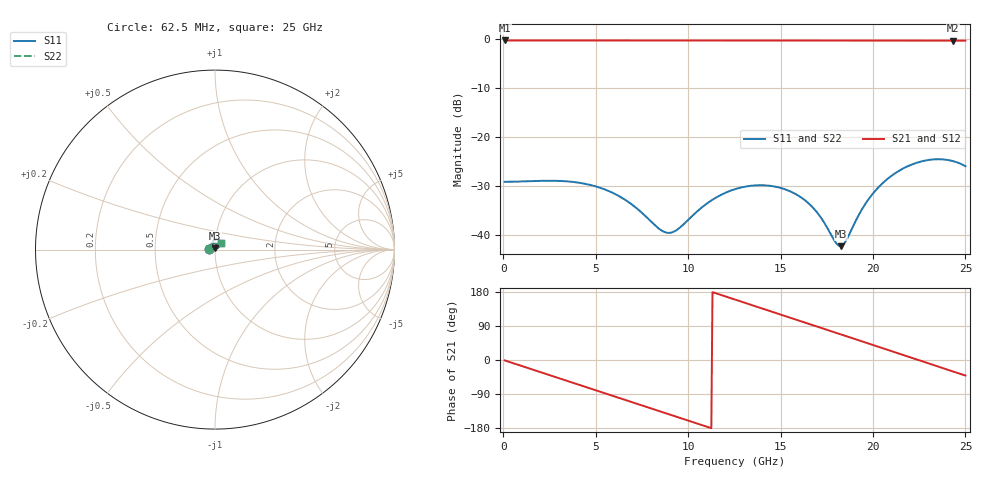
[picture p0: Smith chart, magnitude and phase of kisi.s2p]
! thru_BV_vna_rf_hblb1_q070f25s_out: 2×thru In2.Cu, 6 mm
! stackup: as the board case
! ports: 1 near, 2 far
! kisi-fdtd, conformal, dfine 0.07 mm, 225504 cells
# Hz S RI R 50
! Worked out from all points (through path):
!   400 points, 62.5 MHz to 25 GHz, reference 50 ohm
!   highest |S21| = -0.29 dB at 62.5 MHz (marker M1); lowest = -0.3 dB at 24.31 GHz (marker M2)
!   group delay of S21, straight-line fit = 44.5 ps
!   lowest |S11| = -42.2 dB at 18.25 GHz (marker M3), VSWR 1.02, Z = 50.2 + j0.758 ohm
!   |S11| at or under -10 dB: start of sweep to end of sweep
!   |S22| runs from -42.2 to -24.5 dB; largest |S21 - S12| = 0
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6.25e7  -0.0351 0.00118  0.9673 -0.0169  0.9673 -0.0169  -0.0351 0.00118
2e9  -0.0186 0.0307  0.82 -0.5125  0.82 -0.5125  -0.0186 0.0307
3.1875e9  -0.00117 0.0357  0.6084 -0.751  0.6084 -0.751  -0.00117 0.0357
4.25e9  0.0119 0.0318  0.3625 -0.8957  0.3625 -0.8957  0.0119 0.0318
5.25e9  0.0188 0.0239  0.1019 -0.9607  0.1019 -0.9607  0.0188 0.0239
6.25e9  0.0198 0.0155  -0.1665 -0.9515  -0.1665 -0.9515  0.0198 0.0155
7.3125e9  0.0157 0.00915  -0.4373 -0.8613  -0.4373 -0.8613  0.0157 0.00915
8.375e9  0.00906 0.00766  -0.6698 -0.6958  -0.6698 -0.6958  0.00906 0.00766
9.1875e9  0.00437 0.0099  -0.8091 -0.5272  -0.8091 -0.5272  0.00437 0.0099
1.05e10  0.000835 0.0176  -0.9442 -0.2021  -0.9442 -0.2021  0.000835 0.0176
1.15e10  0.00266 0.0241  -0.9632 0.0661  -0.9632 0.0661  0.00266 0.0241
1.25625e10  0.00818 0.0285  -0.9015 0.3451  -0.9015 0.3451  0.00818 0.0285
1.475e10  0.0205 0.0236  -0.5395 0.8003  -0.5395 0.8003  0.0205 0.0236
1.58125e10  0.0209 0.0161  -0.2811 0.9233  -0.2811 0.9233  0.0209 0.0161
1.66875e10  0.0168 0.0103  -0.0485 0.9638  -0.0485 0.9638  0.0168 0.0103
1.825e10  0.00177 0.00755  0.3652 0.8931  0.3652 0.8931  0.00177 0.00755
1.85e10  -0.001 0.0085  0.4269 0.8652  0.4269 0.8652  -0.001 0.0085
1.975e10  -0.0126 0.0195  0.6982 0.6652  0.6982 0.6652  -0.0126 0.0195
2.0875e10  -0.0149 0.0358  0.8701 0.4149  0.8701 0.4149  -0.0149 0.0358
2.25625e10  0.00204 0.0563  0.9628 -0.0288  0.9628 -0.0288  0.00204 0.0563
2.43125e10  0.0308 0.0482  0.8343 -0.4807  0.8343 -0.4807  0.0308 0.0482
2.5e10  0.0361 0.0355  0.7261 -0.6325  0.7261 -0.6325  0.0361 0.0355
